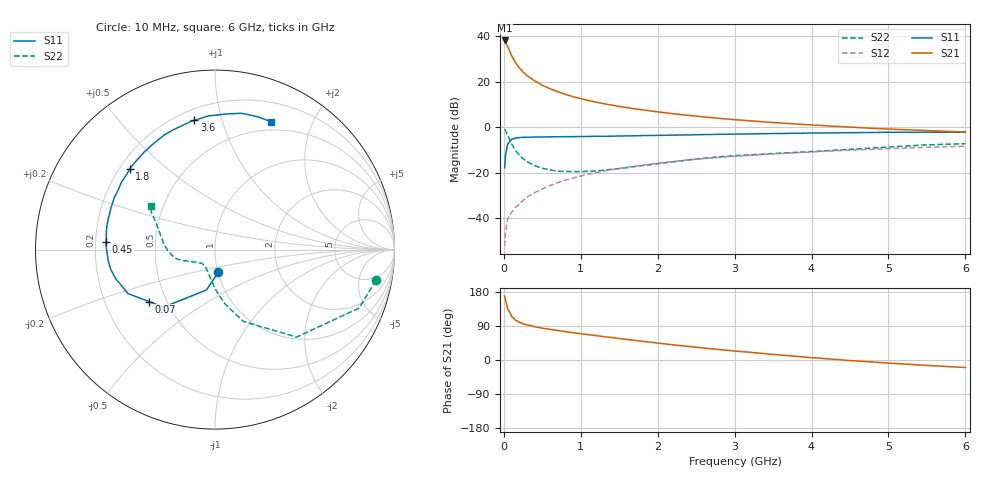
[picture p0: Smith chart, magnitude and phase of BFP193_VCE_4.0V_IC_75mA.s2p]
! (c) 2017  Infineon Technologies AG, Munich
! Infineon Technologies  Discrete & RF Semiconductors
! BFP193
! VCE =  4.0 V,  IC =  75 mA
! Common Emitter S-Parameters:  Jan 2017
# GHz  S  MA  R  50
!  f  S11  S21  S12  S22
! GHz  MAG  ANG  MAG  ANG  MAG  ANG  MAG  ANG
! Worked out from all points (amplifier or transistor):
!   77 points, 10 MHz to 6 GHz, reference 50 ohm
!   highest |S21| = 38.2 dB at 10 MHz (marker M1)
!   |S21| within 3 dB of that: start of sweep to 53.16 MHz
!   unconditionally stable (mu >= 1): 409.1 MHz to 2.363 GHz
!   at 130 MHz: K = 0.72, MSG = 32.9 dB, |S12| = -36.1 dB
!   at 2.2 GHz: K = 1.01, MAG = 10.0 dB, |S12| = -15.1 dB
!   at 6 GHz: K = 0.93, MSG = 3.1 dB, |S12| = -8.3 dB
!   S11 on the Smith chart (normalised r, x): 10 MHz: 1.01, -0.26; 70 MHz: 0.40, -0.30; 450 MHz: 0.24, +0.03; 1.8 GHz: 0.24, +0.38; 3.6 GHz: 0.27, +0.82; 6 GHz: 0.40, +1.45
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0.01  0.1265 -81.2  81.55 168.6  0.0024 82.1  0.9128 -10.8
0.02  0.23 -101.9  78.15 158.3  0.0043 81.0  0.8667 -22.1
0.05  0.43 -131.8  59.26 134.4  0.0094 64.3  0.6663 -47.0
0.07  0.467 -141.6  50 128.6  0.011 64.4  0.5637 -53.4
0.1  0.5431 -153.2  37.63 114.9  0.0134 64.5  0.4307 -68.4
0.15  0.5767 -163.7  26.6 105.5  0.0172 63.7  0.3096 -79.3
0.2  0.5915 -169.4  20.41 99.7  0.0201 67.0  0.2445 -86.5
0.25  0.5984 -173.9  16.51 95.6  0.0245 67.1  0.2033 -91.7
0.3  0.5997 -176.9  13.83 92.7  0.0286 69.0  0.1747 -96.4
0.4  0.6076 178.1  10.49 87.9  0.036 71.0  0.1423 -103.6
0.45  0.608 176.0  9.447 86.2  0.0399 71.0  0.1337 -106.6
0.6  0.6144 170.4  7.047 80.8  0.0522 71.0  0.1148 -115.7
0.7  0.6163 167.3  6.048 77.9  0.06 71.2  0.1075 -120.0
0.9  0.6206 161.1  4.71 72.1  0.0762 69.5  0.1055 -127.8
1.1  0.6273 155.4  3.883 66.9  0.0922 67.9  0.1071 -134.3
1.8  0.6546 136.5  2.421 49.3  0.1468 59.2  0.143 -151.7
2.1  0.6652 128.8  2.08 42.5  0.1685 55.3  0.1654 -157.1
3.1  0.709 107.7  1.426 22.1  0.2341 42.1  0.241 -172.4
3.6  0.7292 99.1  1.238 13.0  0.2633 36.2  0.2679 179.3
4.1  0.7471 91.3  1.097 4.8  0.2911 30.1  0.2976 169.9
5.1  0.7738 77.6  0.897 -9.4  0.3423 18.4  0.3746 153.7
6  0.7782 66.3  0.783 -19.9  0.3827 8.2  0.4342 145.8
